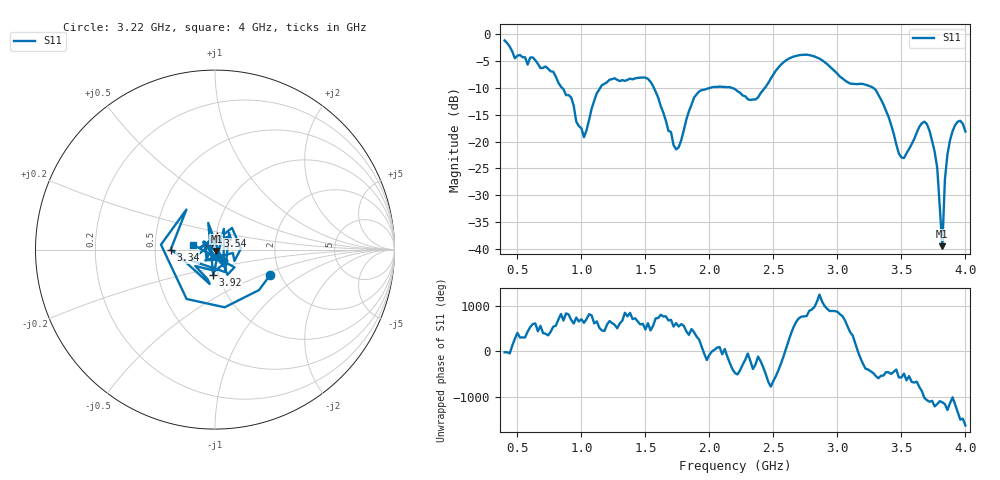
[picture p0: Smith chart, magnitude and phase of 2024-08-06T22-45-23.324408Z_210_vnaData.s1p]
!Created with skrf (http://scikit-rf.org).
# Hz S RI R 50.0
!freq ReS11 ImS11
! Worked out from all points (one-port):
!   181 points, 400 MHz to 4 GHz, reference 50 ohm
!   lowest |S11| = -39.5 dB at 3.82 GHz (marker M1), VSWR 1.02, Z = 50.8 - j0.743 ohm
!   |S11| at or under -10 dB: 849.8 MHz to 1.147 GHz (297.1 MHz wide, 29.8 % of centre); 1.567 GHz to 2.004 GHz (437.2 MHz wide, 24.5 % of centre); 3.281 GHz to end of sweep (the widest 3 of 4)
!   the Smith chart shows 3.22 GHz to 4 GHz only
!   S11 on the Smith chart (normalised r, x): 3.22 GHz: 1.78, -0.57; 3.34 GHz: 0.60, -0.00; 3.54 GHz: 1.01, +0.16; 3.92 GHz: 0.94, -0.27; 4 GHz: 0.78, +0.04
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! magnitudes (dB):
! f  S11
! 400 MHz  -1.1
! 480 MHz  -4.5
! 860 MHz  -10.2
! 920 MHz  -11.8
! 1.02 GHz  -19.2
! 1.16 GHz  -9.5
! 1.3 GHz  -8.7
! 1.52 GHz  -8.3
! 1.76 GHz  -21.1
! 1.92 GHz  -10.7
! 2.2 GHz  -10.2
! 2.36 GHz  -12.1
! 2.66 GHz  -4.1
! 2.86 GHz  -4.5
! 3.1 GHz  -9.2
! 3.22 GHz  -9.4
! 3.34 GHz  -12.1
! 3.48 GHz  -22.2
! 3.54 GHz  -22.2
! 3.56 GHz  -21.4
! 3.66 GHz  -16.6
! 3.72 GHz  -18.0
! 3.78 GHz  -24.9
! 3.82 GHz  -39.5
! 3.84 GHz  -27.0
! 3.86 GHz  -22.4
! 3.92 GHz  -16.9
! 4 GHz  -18.1
